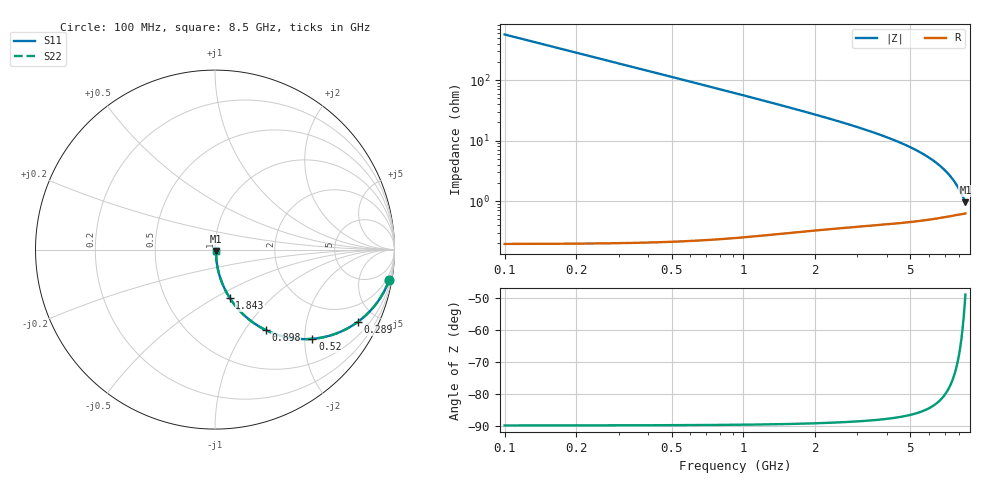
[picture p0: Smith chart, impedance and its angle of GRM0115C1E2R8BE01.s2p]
!Murata Part Number: GRM0115C1E2R8BE01
!These Parameters are Measured in Series Mode Connection
!Data Generated on Mar 30, 2021
!  o--ll--o
!Port1  Port2
!  o------o
!Operation Temp=25[degC], DC Bias Voltage=0[V]
!Freq. Start=100[MHz] Stop=9[GHz] 401[Steps]
# Hz S RI R 50
!Freq.(Hz) S11(Real) S11(Imag) S21(Real) S21(Imag) S12(Real) S12(Imag) S22(Real) S22(Imag)
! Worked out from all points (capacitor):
!   401 points, 100 MHz to 8.5 GHz, reference 50 ohm
!   read as one part in series: C = 2.8 pF near 142 MHz
!   lowest |Z| = 953 mohm at 8.5 GHz (marker M1)
!   S11 on the Smith chart (normalised r, x): 100 MHz: 1, -11; 289 MHz: 1.00, -3.93; 520 MHz: 1.00, -2.18; 898 MHz: 1.00, -1.25; 1.843 GHz: 1.01, -0.59; 8.5 GHz: 1.01, -0.01
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1e8  0.9699 -0.1707  0.0301 0.1707  0.0301 0.1707  0.9699 -0.1707
1.42e8  0.9411 -0.2352  0.0589 0.2352  0.0589 0.2352  0.9411 -0.2352
1.63e8  0.9238 -0.265  0.0762 0.265  0.0762 0.265  0.9238 -0.265
2.05e8  0.8846 -0.3191  0.1154 0.3191  0.1154 0.3191  0.8846 -0.3191
2.89e8  0.794 -0.404  0.206 0.404  0.206 0.404  0.794 -0.404
3.94e8  0.6742 -0.4679  0.3258 0.4679  0.3258 0.4679  0.6742 -0.4679
5.2e8  0.5424 -0.4972  0.4576 0.4972  0.4576 0.4972  0.5424 -0.4972
7.09e8  0.3881 -0.4859  0.6119 0.4859  0.6119 0.4859  0.3881 -0.4859
8.98e8  0.2821 -0.4481  0.7179 0.4481  0.7179 0.4481  0.2821 -0.4481
1.171e9  0.1862 -0.3865  0.8138 0.3865  0.8138 0.3865  0.1862 -0.3865
1.507e9  0.1198 -0.3207  0.8802 0.3207  0.8802 0.3207  0.1198 -0.3207
1.843e9  0.0822 -0.2693  0.9178 0.2693  0.9178 0.2693  0.0822 -0.2693
2.326e9  0.0519 -0.2144  0.9481 0.2144  0.9481 0.2144  0.0519 -0.2144
2.914e9  0.0326 -0.1672  0.9674 0.1672  0.9674 0.1672  0.0326 -0.1672
4.3e9  0.0142 -0.0992  0.9858 0.0992  0.9858 0.0992  0.0142 -0.0992
5.707e9  0.00817 -0.0579  0.9918 0.0579  0.9918 0.0579  0.00817 -0.0579
6.484e9  0.00683 -0.0409  0.9932 0.0409  0.9932 0.0409  0.00683 -0.0409
7.114e9  0.00632 -0.029  0.9937 0.029  0.9937 0.029  0.00632 -0.029
7.492e9  0.00619 -0.0225  0.9938 0.0225  0.9938 0.0225  0.00619 -0.0225
7.828e9  0.00615 -0.0171  0.9938 0.0171  0.9938 0.0171  0.00615 -0.0171
8.122e9  0.00618 -0.0126  0.9938 0.0126  0.9938 0.0126  0.00618 -0.0126
8.5e9  0.00626 -0.0071  0.9937 0.0071  0.9937 0.0071  0.00626 -0.0071
